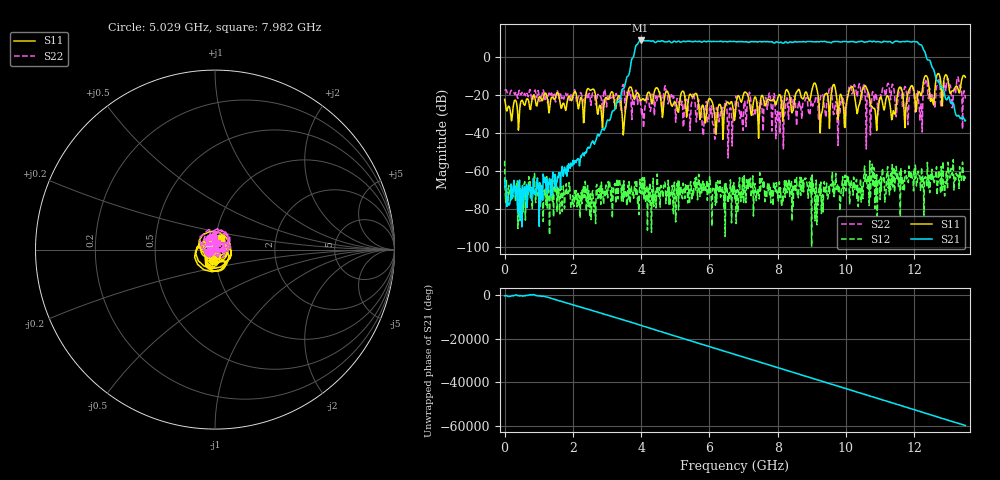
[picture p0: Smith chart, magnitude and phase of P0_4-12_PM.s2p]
!Agilent Technologies,N5230A,MY45000845,A.06.01.05
!Agilent N5230A: A.06.01.05
!Date: Wednesday, February 05, 2014 16:39:50
!Correction: S11(Full 2 Port(1,2)) S21(Full 2 Port(1,2)) S12(Full 2 Port(1,2)) S22(Full 2 Port(1,2))
!S2P File: Measurements: S11, S21, S12, S22:
# Hz S  dB  R 50
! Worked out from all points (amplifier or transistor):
!   801 points, 300 kHz to 13.5 GHz, reference 50 ohm
!   highest |S21| = 8.8 dB at 3.983 GHz (marker M1)
!   |S21| within 3 dB of that: 3.842 GHz to 12.23 GHz (8.39 GHz wide, 104 % of centre)
!   unconditionally stable (mu >= 1): start of sweep to end of sweep
!   at 2.245 GHz: K = 761441.85, MAG = -52.6 dB, |S12| = -71.2 dB
!   at 6.75 GHz: K = 1101.64, MAG = 8.2 dB, |S12| = -75.1 dB
!   at 13.5 GHz: K = 29331.29, MAG = -32.9 dB, |S12| = -62.9 dB
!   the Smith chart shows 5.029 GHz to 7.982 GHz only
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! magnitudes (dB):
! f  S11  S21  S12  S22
! 300 kHz  -22.2  -64.2  -54.5  -17.1
! 1.047 GHz  -21.0  -78.6  -71.6  -22.1
! 2.261 GHz  -21.8  -51.5  -77.1  -20.1
! 3.493 GHz  -37.8  -16.3  -65.1  -15.7
! 3.662 GHz  -15.8  -7.8  -69.1  -17.8
! 3.983 GHz  -22.8  8.8  -71.7  -23.9
! 4.506 GHz  -17.3  8.4  -73.3  -21.1
! 6.109 GHz  -25.3  8.3  -69.7  -35.5
! 6.75 GHz  -31.7  8.2  -75.1  -26.1
! 9.011 GHz  -16.6  8.3  -62.0  -25.2
! 9.264 GHz  -32.8  8.3  -65.7  -20.2
! 9.636 GHz  -14.4  8.2  -65.4  -30.2
! 9.956 GHz  -36.7  8.2  -69.0  -26.0
! 10.16 GHz  -15.6  8.2  -65.2  -16.9
! 10.67 GHz  -19.0  8.3  -63.3  -19.1
! 10.87 GHz  -29.7  8.0  -62.2  -18.9
! 11.26 GHz  -21.9  8.2  -62.3  -14.5
! 12.17 GHz  -18.7  6.6  -62.5  -33.1
! 12.34 GHz  -9.7  1.5  -62.9  -12.7
! 12.52 GHz  -21.8  -5.1  -59.0  -19.7
! 12.69 GHz  -8.7  -12.5  -66.3  -14.6
! 13.5 GHz  -10.6  -33.3  -62.9  -21.8
